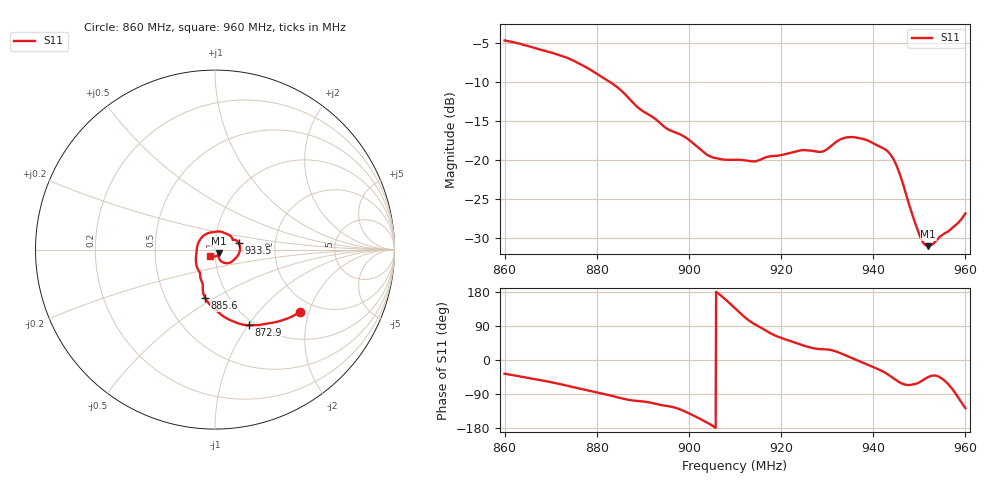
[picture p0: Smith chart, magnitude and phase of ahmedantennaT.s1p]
!Keysight Technologies,N5222B,MY58422327,A.13.60.06
!Date: Wednesday, February 23, 2022 12:59:56
!Correction: S11(Full 1 Port(1))
!S1P File: Measurement: S11:
# Hz S  dB  R 50
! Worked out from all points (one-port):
!   1001 points, 860 MHz to 960 MHz, reference 50 ohm
!   lowest |S11| = -31.1 dB at 951.9 MHz (marker M1), VSWR 1.06, Z = 52 - j2.05 ohm
!   |S11| at or under -10 dB: 882.9 MHz to end of sweep
!   S11 on the Smith chart (normalised r, x): 860 MHz: 1.65, -1.74; 872.9 MHz: 0.94, -1.01; 885.6 MHz: 0.78, -0.45; 933.5 MHz: 1.30, +0.09; 960 MHz: 0.94, -0.07
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8.6e8  -4.64 -36.3
8.658e8  -5.47 -48.8
8.725e8  -6.64 -64.9
8.729e8  -6.72 -66.0
8.791e8  -8.58 -83.2
8.85e8  -10.92 -100.0
8.856e8  -11.24 -101.8
8.894e8  -13.48 -108.7
8.952e8  -15.98 -121.2
8.975e8  -16.57 -127.7
9.046e8  -19.54 -169.6
9.1e8  -19.99 136.6
9.143e8  -20.20 94.2
9.225e8  -19.03 48.1
9.248e8  -18.74 38.5
9.29e8  -18.93 28.5
9.335e8  -17.22 14.9
9.35e8  -17.07 7.1
9.387e8  -17.49 -12.0
9.434e8  -19.07 -40.1
9.444e8  -19.92 -48.7
9.453e8  -21.09 -56.0
9.475e8  -25.19 -65.9
9.502e8  -29.92 -57.7
9.511e8  -30.84 -50.6
9.519e8  -31.11 -45.2
9.56e8  -29.29 -60.3
9.6e8  -26.89 -127.0
